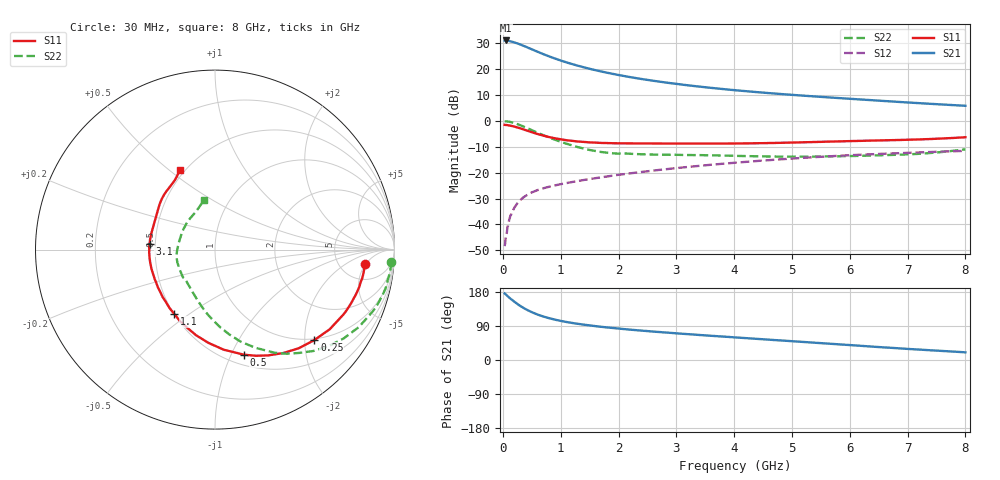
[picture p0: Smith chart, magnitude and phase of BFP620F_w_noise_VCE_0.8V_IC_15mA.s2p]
! Infineon Technologies  Discrete & RF Semiconductors
! BFP620F
! VCE =  0.8 V,  IC =  15 mA
! Common Emitter S-Parameters:  Dec 2014
# GHz  S  MA  R  50
!  f  S11  S21  S12  S22
! GHz  MAG  ANG  MAG  ANG  MAG  ANG  MAG  ANG
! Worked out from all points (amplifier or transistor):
!   95 points, 30 MHz to 8 GHz, reference 50 ohm
!   highest |S21| = 31.1 dB at 50 MHz (marker M1)
!   |S21| within 3 dB of that: start of sweep to 456.3 MHz
!   unconditionally stable (mu >= 1): 3.38 GHz to end of sweep
!   at 300 MHz: K = 0.23, MSG = 30.1 dB, |S12| = -30.6 dB
!   at 3.3 GHz: K = 1.00, MSG = 15.5 dB, |S12| = -17.6 dB
!   at 8 GHz: K = 1.07, MAG = 7.1 dB, |S12| = -11.6 dB
!   lowest NFmin = 0.71 dB at 450 MHz
!   S11 on the Smith chart (normalised r, x): 30 MHz: 9, -5; 250 MHz: 0.97, -2.23; 500 MHz: 0.60, -1.12; 1.1 GHz: 0.50, -0.44; 3.1 GHz: 0.46, +0.04; 8 GHz: 0.47, +0.54
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0.03  0.8419 -5.4  35.93 175.7  0.0038 82.5  0.9844 -4.0
0.05  0.8373 -9.3  36.01 172.9  0.006 75.5  0.9833 -7.1
0.08  0.8302 -14.5  35.74 168.7  0.0091 83.9  0.9765 -11.5
0.15  0.8029 -26.5  34.27 159.6  0.0166 77.8  0.9433 -21.5
0.2  0.7784 -34.7  32.95 153.6  0.0212 73.8  0.9104 -28.3
0.25  0.7489 -42.3  31.59 148.0  0.0256 69.8  0.8712 -34.6
0.3  0.7212 -49.6  30.14 142.8  0.0294 67.2  0.8299 -40.5
0.4  0.6603 -63.2  27.17 133.7  0.036 62.9  0.7421 -50.9
0.5  0.6069 -74.7  24.31 126.2  0.0416 58.9  0.6644 -59.9
0.6  0.5595 -85.1  21.78 119.9  0.0461 56.5  0.5919 -67.6
0.7  0.5206 -94.1  19.6 114.7  0.05 55.0  0.5318 -74.5
0.8  0.4892 -102.3  17.72 110.3  0.0535 53.9  0.4787 -80.5
0.9  0.4625 -109.5  16.12 106.5  0.0568 53.3  0.4341 -86.1
1.1  0.4245 -122.3  13.57 100.3  0.063 52.1  0.3632 -96.5
1.4  0.3935 -137.9  10.9 93.3  0.0723 52.0  0.2924 -110.5
2  0.3701 -160.3  7.744 83.0  0.0912 51.6  0.2332 -136.0
2.7  0.3671 -177.6  5.775 73.9  0.1131 49.9  0.2232 -155.2
3.1  0.3664 174.7  5.046 69.3  0.126 48.4  0.2205 -162.9
4.1  0.3677 158.6  3.857 58.8  0.1586 43.9  0.2107 -179.0
5.4  0.3925 143.1  2.976 45.5  0.2001 35.9  0.2052 156.9
6.7  0.4251 128.5  2.392 32.3  0.2349 26.6  0.2201 131.4
8  0.4848 114.0  1.966 20.2  0.2645 17.5  0.283 102.7
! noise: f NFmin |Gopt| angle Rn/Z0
0.45  0.71  0.15  6  0.2
0.9  0.77  0.14  18  0.18
1.5  0.82  0.13  20  0.13
1.8  0.85  0.13  21  0.11
1.9  0.86  0.09  36  0.14
2.4  0.9  0.08  52  0.12
3.5  0.98  0.06  85  0.13
5.5  1.13  0.11  208  0.08
6  1.17  0.11  235  0.13
